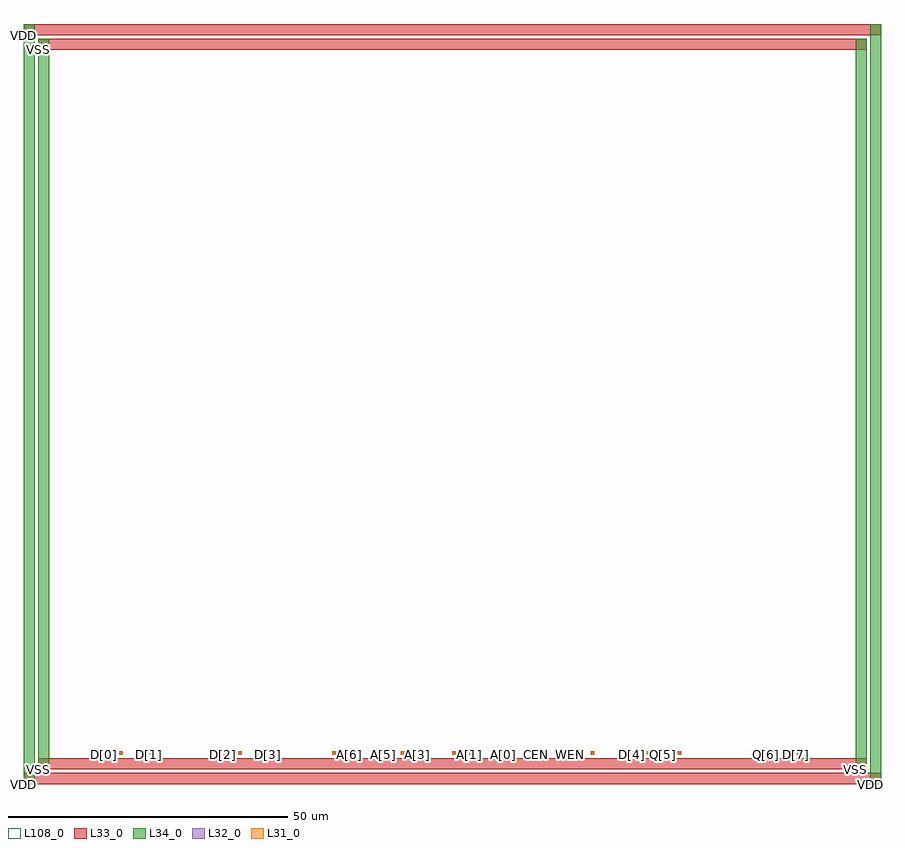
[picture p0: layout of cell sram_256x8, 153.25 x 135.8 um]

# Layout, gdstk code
import gdstk
lib = gdstk.Library(unit=1e-6, precision=1e-09)
def R(c, l, rs):  # rectangles x0, y0, x1, y1
    for r in rs: c.add(gdstk.rectangle(r[:2], r[2:], *l))
L31_0 = (31, 0)
L32_0 = (32, 0)
L33_0 = (33, 0)
L34_0 = (34, 0)
L108_0 = (108, 0)

sram_256x8 = lib.new_cell('sram_256x8')
R(sram_256x8, L31_0, [(14.48,5.2,15.14,5.86), (17.06,5.2,17.72,5.86), (19.94,5.2,20.6,5.86), (22.52,5.2,23.18,5.86), (35.76,5.2,36.42,5.86), (38.34,5.2,39,5.86), (41.22,5.2,41.88,5.86), (43.8,5.2,44.46,5.86), (55.16,5.2,55.82,5.86), (58.18,5.2,58.84,5.86), (64.3,5.2,64.96,5.86), (67.4,5.2,68.06,5.86), (70.42,5.2,71.08,5.86), (76.54,5.2,77.2,5.86), (79.64,5.2,80.3,5.86), (85.76,5.2,86.42,5.86), (91.575,5.2,92.235,5.86), (97.62,5.2,98.28,5.86), (101.32,5.2,101.98,5.86), (108.785,5.2,109.445,5.86), (111.365,5.2,112.025,5.86), (114.245,5.2,114.905,5.86), (116.825,5.2,117.485,5.86), (130.065,5.2,130.725,5.86), (132.645,5.2,133.305,5.86), (135.525,5.2,136.185,5.86), (138.105,5.2,138.765,5.86)])
R(sram_256x8, L32_0, [(14.48,5.2,15.14,5.86), (17.06,5.2,17.72,5.86), (19.94,5.2,20.6,5.86), (22.52,5.2,23.18,5.86), (35.76,5.2,36.42,5.86), (38.34,5.2,39,5.86), (41.22,5.2,41.88,5.86), (43.8,5.2,44.46,5.86), (55.16,5.2,55.82,5.86), (58.18,5.2,58.84,5.86), (64.3,5.2,64.96,5.86), (67.4,5.2,68.06,5.86), (70.42,5.2,71.08,5.86), (76.54,5.2,77.2,5.86), (79.64,5.2,80.3,5.86), (85.76,5.2,86.42,5.86), (91.575,5.2,92.235,5.86), (97.62,5.2,98.28,5.86), (101.32,5.2,101.98,5.86), (108.785,5.2,109.445,5.86), (111.365,5.2,112.025,5.86), (114.245,5.2,114.905,5.86), (116.825,5.2,117.485,5.86), (130.065,5.2,130.725,5.86), (132.645,5.2,133.305,5.86), (135.525,5.2,136.185,5.86), (138.105,5.2,138.765,5.86)])
R(sram_256x8, L33_0, [(0,0,153.245,2), (2.6,2.6,150.645,4.6), (14.48,5.2,15.14,5.86), (17.06,5.2,17.72,5.86), (19.94,5.2,20.6,5.86), (22.52,5.2,23.18,5.86), (35.76,5.2,36.42,5.86), (38.34,5.2,39,5.86), (41.22,5.2,41.88,5.86), (43.8,5.2,44.46,5.86), (55.16,5.2,55.82,5.86), (58.18,5.2,58.84,5.86), (64.3,5.2,64.96,5.86), (67.4,5.2,68.06,5.86), (70.42,5.2,71.08,5.86), (76.54,5.2,77.2,5.86), (79.64,5.2,80.3,5.86), (85.76,5.2,86.42,5.86), (91.575,5.2,92.235,5.86), (97.62,5.2,98.28,5.86), (101.32,5.2,101.98,5.86), (108.785,5.2,109.445,5.86), (111.365,5.2,112.025,5.86), (114.245,5.2,114.905,5.86), (116.825,5.2,117.485,5.86), (130.065,5.2,130.725,5.86), (132.645,5.2,133.305,5.86), (135.525,5.2,136.185,5.86), (138.105,5.2,138.765,5.86), (2.6,131.195,150.645,133.195), (0,133.795,153.245,135.795)])
R(sram_256x8, L34_0, [(0,0,2,135.795), (151.245,0,153.245,135.795), (2.6,2.6,4.6,133.195), (148.645,2.6,150.645,133.195), (14.48,5.2,15.14,5.86), (17.06,5.2,17.72,5.86), (19.94,5.2,20.6,5.86), (22.52,5.2,23.18,5.86), (35.76,5.2,36.42,5.86), (38.34,5.2,39,5.86), (41.22,5.2,41.88,5.86), (43.8,5.2,44.46,5.86), (55.16,5.2,55.82,5.86), (58.18,5.2,58.84,5.86), (64.3,5.2,64.96,5.86), (67.4,5.2,68.06,5.86), (70.42,5.2,71.08,5.86), (76.54,5.2,77.2,5.86), (79.64,5.2,80.3,5.86), (85.76,5.2,86.42,5.86), (91.575,5.2,92.235,5.86), (97.62,5.2,98.28,5.86), (101.32,5.2,101.98,5.86), (108.785,5.2,109.445,5.86), (111.365,5.2,112.025,5.86), (114.245,5.2,114.905,5.86), (116.825,5.2,117.485,5.86), (130.065,5.2,130.725,5.86), (132.645,5.2,133.305,5.86), (135.525,5.2,136.185,5.86), (138.105,5.2,138.765,5.86)])
R(sram_256x8, L108_0, [(0,0,153.245,135.795)])
sram_256x8.add(gdstk.Label('Q[5]', (114.245,5.2), layer=133, texttype=0))
sram_256x8.add(gdstk.Label('Q[5]', (114.245,5.2), layer=132, texttype=0))
sram_256x8.add(gdstk.Label('Q[5]', (114.245,5.2), layer=131, texttype=0))
sram_256x8.add(gdstk.Label('Q[6]', (132.645,5.2), layer=134, texttype=0))
sram_256x8.add(gdstk.Label('Q[6]', (132.645,5.2), layer=133, texttype=0))
sram_256x8.add(gdstk.Label('Q[6]', (132.645,5.2), layer=132, texttype=0))
sram_256x8.add(gdstk.Label('Q[6]', (132.645,5.2), layer=131, texttype=0))
sram_256x8.add(gdstk.Label('Q[7]', (135.525,5.2), layer=134, texttype=0))
sram_256x8.add(gdstk.Label('Q[7]', (135.525,5.2), layer=133, texttype=0))
sram_256x8.add(gdstk.Label('Q[7]', (135.525,5.2), layer=132, texttype=0))
sram_256x8.add(gdstk.Label('Q[7]', (135.525,5.2), layer=131, texttype=0))
sram_256x8.add(gdstk.Label('WEN', (97.62,5.2), layer=134, texttype=0))
sram_256x8.add(gdstk.Label('WEN', (97.62,5.2), layer=133, texttype=0))
sram_256x8.add(gdstk.Label('WEN', (97.62,5.2), layer=132, texttype=0))
sram_256x8.add(gdstk.Label('WEN', (97.62,5.2), layer=131, texttype=0))
sram_256x8.add(gdstk.Label('VDD', (0,0), layer=134, texttype=0))
sram_256x8.add(gdstk.Label('VDD', (151.245,0), layer=134, texttype=0))
sram_256x8.add(gdstk.Label('VDD', (0,0), layer=133, texttype=0))
sram_256x8.add(gdstk.Label('VDD', (0,133.795), layer=133, texttype=0))
sram_256x8.add(gdstk.Label('VSS', (2.6,2.6), layer=134, texttype=0))
sram_256x8.add(gdstk.Label('VSS', (148.645,2.6), layer=134, texttype=0))
sram_256x8.add(gdstk.Label('VSS', (2.6,2.6), layer=133, texttype=0))
sram_256x8.add(gdstk.Label('VSS', (2.6,131.195), layer=133, texttype=0))
sram_256x8.add(gdstk.Label('A[0]', (85.76,5.2), layer=134, texttype=0))
sram_256x8.add(gdstk.Label('A[0]', (85.76,5.2), layer=133, texttype=0))
sram_256x8.add(gdstk.Label('A[0]', (85.76,5.2), layer=132, texttype=0))
sram_256x8.add(gdstk.Label('A[0]', (85.76,5.2), layer=131, texttype=0))
sram_256x8.add(gdstk.Label('A[1]', (79.64,5.2), layer=134, texttype=0))
sram_256x8.add(gdstk.Label('A[1]', (79.64,5.2), layer=133, texttype=0))
sram_256x8.add(gdstk.Label('A[1]', (79.64,5.2), layer=132, texttype=0))
sram_256x8.add(gdstk.Label('A[1]', (79.64,5.2), layer=131, texttype=0))
sram_256x8.add(gdstk.Label('A[2]', (76.54,5.2), layer=134, texttype=0))
sram_256x8.add(gdstk.Label('A[2]', (76.54,5.2), layer=133, texttype=0))
sram_256x8.add(gdstk.Label('A[2]', (76.54,5.2), layer=132, texttype=0))
sram_256x8.add(gdstk.Label('A[2]', (76.54,5.2), layer=131, texttype=0))
sram_256x8.add(gdstk.Label('A[3]', (70.42,5.2), layer=134, texttype=0))
sram_256x8.add(gdstk.Label('A[3]', (70.42,5.2), layer=133, texttype=0))
sram_256x8.add(gdstk.Label('A[3]', (70.42,5.2), layer=132, texttype=0))
sram_256x8.add(gdstk.Label('A[3]', (70.42,5.2), layer=131, texttype=0))
sram_256x8.add(gdstk.Label('A[4]', (67.4,5.2), layer=134, texttype=0))
sram_256x8.add(gdstk.Label('A[4]', (67.4,5.2), layer=133, texttype=0))
sram_256x8.add(gdstk.Label('A[4]', (67.4,5.2), layer=132, texttype=0))
sram_256x8.add(gdstk.Label('A[4]', (67.4,5.2), layer=131, texttype=0))
sram_256x8.add(gdstk.Label('A[5]', (64.3,5.2), layer=134, texttype=0))
sram_256x8.add(gdstk.Label('A[5]', (64.3,5.2), layer=133, texttype=0))
sram_256x8.add(gdstk.Label('A[5]', (64.3,5.2), layer=132, texttype=0))
sram_256x8.add(gdstk.Label('A[5]', (64.3,5.2), layer=131, texttype=0))
sram_256x8.add(gdstk.Label('A[6]', (58.18,5.2), layer=134, texttype=0))
sram_256x8.add(gdstk.Label('A[6]', (58.18,5.2), layer=133, texttype=0))
sram_256x8.add(gdstk.Label('A[6]', (58.18,5.2), layer=132, texttype=0))
sram_256x8.add(gdstk.Label('A[6]', (58.18,5.2), layer=131, texttype=0))
sram_256x8.add(gdstk.Label('A[7]', (55.16,5.2), layer=134, texttype=0))
sram_256x8.add(gdstk.Label('A[7]', (55.16,5.2), layer=133, texttype=0))
sram_256x8.add(gdstk.Label('A[7]', (55.16,5.2), layer=132, texttype=0))
sram_256x8.add(gdstk.Label('A[7]', (55.16,5.2), layer=131, texttype=0))
sram_256x8.add(gdstk.Label('CEN', (91.575,5.2), layer=134, texttype=0))
sram_256x8.add(gdstk.Label('CEN', (91.575,5.2), layer=133, texttype=0))
sram_256x8.add(gdstk.Label('CEN', (91.575,5.2), layer=132, texttype=0))
sram_256x8.add(gdstk.Label('CEN', (91.575,5.2), layer=131, texttype=0))
sram_256x8.add(gdstk.Label('CLK', (101.32,5.2), layer=134, texttype=0))
sram_256x8.add(gdstk.Label('CLK', (101.32,5.2), layer=133, texttype=0))
sram_256x8.add(gdstk.Label('CLK', (101.32,5.2), layer=132, texttype=0))
sram_256x8.add(gdstk.Label('CLK', (101.32,5.2), layer=131, texttype=0))
sram_256x8.add(gdstk.Label('D[0]', (14.48,5.2), layer=134, texttype=0))
sram_256x8.add(gdstk.Label('D[0]', (14.48,5.2), layer=133, texttype=0))
sram_256x8.add(gdstk.Label('D[0]', (14.48,5.2), layer=132, texttype=0))
sram_256x8.add(gdstk.Label('D[0]', (14.48,5.2), layer=131, texttype=0))
sram_256x8.add(gdstk.Label('D[1]', (22.52,5.2), layer=134, texttype=0))
sram_256x8.add(gdstk.Label('D[1]', (22.52,5.2), layer=133, texttype=0))
sram_256x8.add(gdstk.Label('D[1]', (22.52,5.2), layer=132, texttype=0))
sram_256x8.add(gdstk.Label('D[1]', (22.52,5.2), layer=131, texttype=0))
sram_256x8.add(gdstk.Label('D[2]', (35.76,5.2), layer=134, texttype=0))
sram_256x8.add(gdstk.Label('D[2]', (35.76,5.2), layer=133, texttype=0))
sram_256x8.add(gdstk.Label('D[2]', (35.76,5.2), layer=132, texttype=0))
sram_256x8.add(gdstk.Label('D[2]', (35.76,5.2), layer=131, texttype=0))
sram_256x8.add(gdstk.Label('D[3]', (43.8,5.2), layer=134, texttype=0))
sram_256x8.add(gdstk.Label('D[3]', (43.8,5.2), layer=133, texttype=0))
sram_256x8.add(gdstk.Label('D[3]', (43.8,5.2), layer=132, texttype=0))
sram_256x8.add(gdstk.Label('D[3]', (43.8,5.2), layer=131, texttype=0))
sram_256x8.add(gdstk.Label('D[4]', (108.785,5.2), layer=134, texttype=0))
sram_256x8.add(gdstk.Label('D[4]', (108.785,5.2), layer=133, texttype=0))
sram_256x8.add(gdstk.Label('D[4]', (108.785,5.2), layer=132, texttype=0))
sram_256x8.add(gdstk.Label('D[4]', (108.785,5.2), layer=131, texttype=0))
sram_256x8.add(gdstk.Label('D[5]', (116.825,5.2), layer=134, texttype=0))
sram_256x8.add(gdstk.Label('D[5]', (116.825,5.2), layer=133, texttype=0))
sram_256x8.add(gdstk.Label('D[5]', (116.825,5.2), layer=132, texttype=0))
sram_256x8.add(gdstk.Label('D[5]', (116.825,5.2), layer=131, texttype=0))
sram_256x8.add(gdstk.Label('D[6]', (130.065,5.2), layer=134, texttype=0))
sram_256x8.add(gdstk.Label('D[6]', (130.065,5.2), layer=133, texttype=0))
sram_256x8.add(gdstk.Label('D[6]', (130.065,5.2), layer=132, texttype=0))
sram_256x8.add(gdstk.Label('D[6]', (130.065,5.2), layer=131, texttype=0))
sram_256x8.add(gdstk.Label('D[7]', (138.105,5.2), layer=134, texttype=0))
sram_256x8.add(gdstk.Label('D[7]', (138.105,5.2), layer=133, texttype=0))
sram_256x8.add(gdstk.Label('D[7]', (138.105,5.2), layer=132, texttype=0))
sram_256x8.add(gdstk.Label('D[7]', (138.105,5.2), layer=131, texttype=0))
sram_256x8.add(gdstk.Label('Q[0]', (17.06,5.2), layer=134, texttype=0))
sram_256x8.add(gdstk.Label('Q[0]', (17.06,5.2), layer=133, texttype=0))
sram_256x8.add(gdstk.Label('Q[0]', (17.06,5.2), layer=132, texttype=0))
sram_256x8.add(gdstk.Label('Q[0]', (17.06,5.2), layer=131, texttype=0))
sram_256x8.add(gdstk.Label('Q[1]', (19.94,5.2), layer=134, texttype=0))
sram_256x8.add(gdstk.Label('Q[1]', (19.94,5.2), layer=133, texttype=0))
sram_256x8.add(gdstk.Label('Q[1]', (19.94,5.2), layer=132, texttype=0))
sram_256x8.add(gdstk.Label('Q[1]', (19.94,5.2), layer=131, texttype=0))
sram_256x8.add(gdstk.Label('Q[2]', (38.34,5.2), layer=134, texttype=0))
sram_256x8.add(gdstk.Label('Q[2]', (38.34,5.2), layer=133, texttype=0))
sram_256x8.add(gdstk.Label('Q[2]', (38.34,5.2), layer=132, texttype=0))
sram_256x8.add(gdstk.Label('Q[2]', (38.34,5.2), layer=131, texttype=0))
sram_256x8.add(gdstk.Label('Q[3]', (41.22,5.2), layer=134, texttype=0))
sram_256x8.add(gdstk.Label('Q[3]', (41.22,5.2), layer=133, texttype=0))
sram_256x8.add(gdstk.Label('Q[3]', (41.22,5.2), layer=132, texttype=0))
sram_256x8.add(gdstk.Label('Q[3]', (41.22,5.2), layer=131, texttype=0))
sram_256x8.add(gdstk.Label('Q[4]', (111.365,5.2), layer=134, texttype=0))
sram_256x8.add(gdstk.Label('Q[4]', (111.365,5.2), layer=133, texttype=0))
sram_256x8.add(gdstk.Label('Q[4]', (111.365,5.2), layer=132, texttype=0))
sram_256x8.add(gdstk.Label('Q[4]', (111.365,5.2), layer=131, texttype=0))
sram_256x8.add(gdstk.Label('Q[5]', (114.245,5.2), layer=134, texttype=0))

lib.write_gds('sram_256x8.gds')
